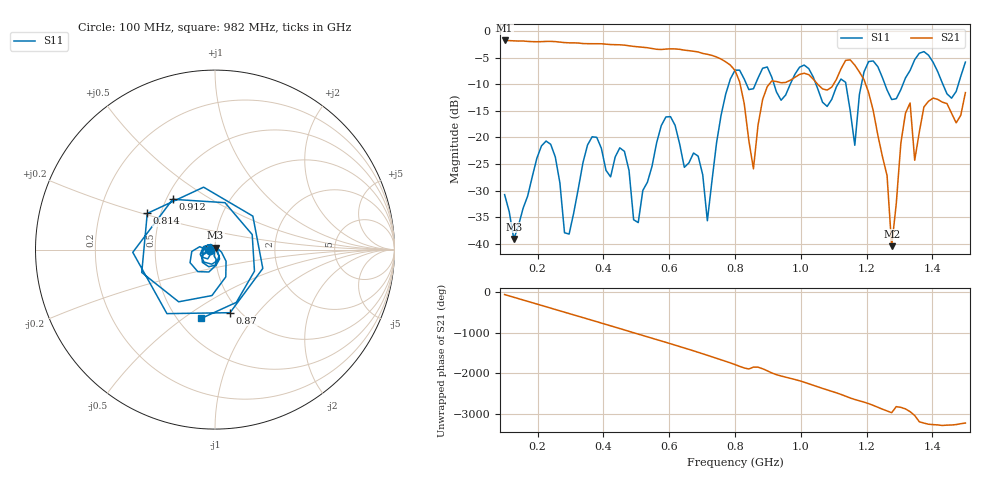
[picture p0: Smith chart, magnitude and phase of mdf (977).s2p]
! NanoVNA-App
! Date: 2025-09-25 15:46:01
! Start: 100MHz Stop: 1,5GHz Points: 101
! S-Parameter data: F S11 S21 S12 S22
# Hz S RI R 50
!  Frequency  S11_Real  S11_Imag  S21_Real  S21_Imag  S12_Real  S12_Imag  S22_Real  S22_Imag
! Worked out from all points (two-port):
!   101 points, 100 MHz to 1.5 GHz, reference 50 ohm
!   highest |S21| = -1.80 dB at 100 MHz (marker M1); lowest = -40.4 dB at 1.276 GHz (marker M2)
!   |S21| within 3 dB of the highest: start of sweep to 739.2 MHz
!   lowest |S11| = -39.0 dB at 128 MHz (marker M3), VSWR 1.02, Z = 50.3 + j1.07 ohm
!   |S11| at or under -10 dB: start of sweep to 781.1 MHz; 1.046 GHz to 1.113 GHz (66.81 MHz wide, 6.19 % of centre); 1.255 GHz to 1.31 GHz (55.07 MHz wide, 4.29 % of centre) (the widest 3 of 7)
!   S12 and S22 are empty: the file has one direction only
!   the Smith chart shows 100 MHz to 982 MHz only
!   S11 on the Smith chart (normalised r, x): 100 MHz: 0.94, -0.01; 814 MHz: 0.42, +0.21; 870 MHz: 0.90, -0.73; 912 MHz: 0.54, +0.35; 982 MHz: 0.65, -0.59
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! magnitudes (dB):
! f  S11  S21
! 100 MHz  -30.7  -1.8
! 128 MHz  -39.0  -1.9
! 212 MHz  -21.6  -2.0
! 282 MHz  -37.9  -2.2
! 338 MHz  -24.7  -2.4
! 464 MHz  -22.6  -2.7
! 506 MHz  -36.0  -3.0
! 576 MHz  -17.8  -3.5
! 716 MHz  -35.6  -4.4
! 800 MHz  -7.4  -7.4
! 814 MHz  -7.4  -9.5
! 856 MHz  -10.9  -25.9
! 870 MHz  -8.8  -17.7
! 912 MHz  -8.7  -9.4
! 982 MHz  -8.1  -8.7
! 1.038 GHz  -8.7  -9.1
! 1.164 GHz  -21.5  -6.4
! 1.192 GHz  -7.7  -9.2
! 1.276 GHz  -12.9  -40.4
! 1.332 GHz  -7.4  -13.5
! 1.346 GHz  -5.4  -24.3
! 1.5 GHz  -5.9  -11.6
